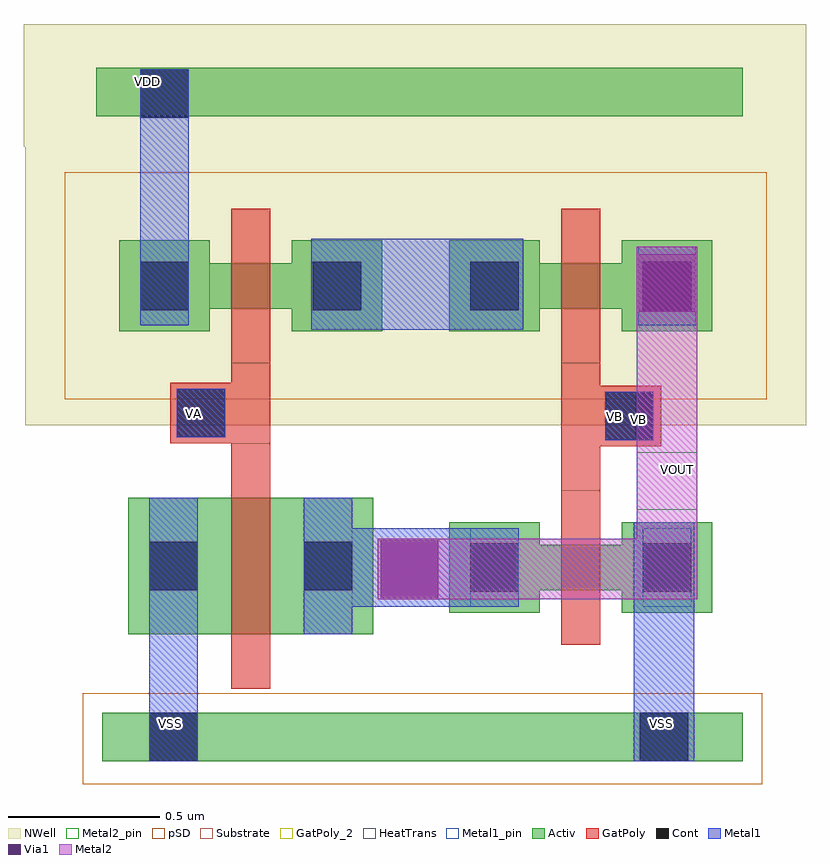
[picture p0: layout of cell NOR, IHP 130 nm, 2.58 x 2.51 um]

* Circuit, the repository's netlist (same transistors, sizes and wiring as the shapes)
* Extracted by KLayout with SG13G2 LVS runset on : 25/01/2026 23:58

.SUBCKT NOR VB
M$1 \$3 VB \$1 \$1 sg13_lv_nmos L=0.13u W=0.15u AS=0.1005p AD=0.1005p PS=1.34u
+ PD=1.34u
M$2 \$1 \$5 \$3 \$1 sg13_lv_nmos L=0.13u W=0.45u AS=0.153p AD=0.153p PS=1.58u
+ PD=1.58u
M$3 \$2 \$5 \$6 \$2 sg13_lv_pmos L=0.13u W=0.15u AS=0.1005p AD=0.1005p PS=1.34u
+ PD=1.34u
M$4 \$6 VB \$3 \$2 sg13_lv_pmos L=0.13u W=0.15u AS=0.1005p AD=0.1005p PS=1.34u
+ PD=1.34u
.ENDS NOR

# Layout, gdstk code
from math import pi, radians
import gdstk
lib = gdstk.Library(unit=1e-6, precision=5e-09)
def R(c, l, rs):  # rectangles x0, y0, x1, y1
    for r in rs: c.add(gdstk.rectangle(r[:2], r[2:], *l))
Activ = (1, 0)
GatPoly = (5, 0)
GatPoly_2 = (5, 2)
Cont = (6, 0)
Metal1 = (8, 0)
Metal1_pin = (8, 2)
Metal2 = (10, 0)
Metal2_pin = (10, 2)
pSD = (14, 0)
Via1 = (19, 0)
NWell = (31, 0)
Substrate = (40, 0)
HeatTrans = (51, 0)

pmos = lib.new_cell('pmos')
R(pmos, Activ, [(0,0,0.3,0.3), (0.57,0,0.87,0.3), (0,0.075,0.87,0.225)])
R(pmos, GatPoly, [(0.37,-0.105,0.5,0.405), (0.37,-0.105,0.5,0.405)])
R(pmos, Cont, [(0.07,0.07,0.23,0.23), (0.64,0.07,0.8,0.23)])
R(pmos, Metal1, [(0.07,0.02,0.23,0.28), (0.07,0.02,0.23,0.28), (0.64,0.02,0.8,0.28), (0.64,0.02,0.8,0.28)])
R(pmos, pSD, [(-0.18,-0.225,1.05,0.525)])
R(pmos, NWell, [(-0.31,-0.31,1.18,0.61)])
R(pmos, Substrate, [(0.57,0,0.87,0.3)])
R(pmos, HeatTrans, [(0.37,-0.105,0.5,0.405)])
pmos.add(gdstk.Label('pmos', (0.435,0.15), layer=63, texttype=0))
pmos.add(gdstk.Label('pmos', (0.435,0.15), layer=51, texttype=0))

nmos = lib.new_cell('nmos')
R(nmos, Activ, [(0,0,0.3,0.3), (0,0,0.81,0.45), (0.51,0,0.81,0.3)])
R(nmos, GatPoly, [(0.34,-0.18,0.47,0.63)])
R(nmos, GatPoly_2, [(0.34,-0.18,0.47,0.63)])
R(nmos, Cont, [(0.07,0.145,0.23,0.305), (0.58,0.145,0.74,0.305)])
R(nmos, Metal1, [(0.07,0,0.23,0.45), (0.58,0,0.74,0.45)])
R(nmos, Metal1_pin, [(0.07,0,0.23,0.45), (0.58,0,0.74,0.45)])
R(nmos, HeatTrans, [(0.34,-0.18,0.47,0.63)])
nmos.add(gdstk.Label('nmos', (0.405,0.225), layer=63, texttype=0))
nmos.add(gdstk.Label('nmos', (0.405,0.225), layer=51, texttype=0))

nmos_3 = lib.new_cell('nmos$3')
R(nmos_3, Activ, [(0,0,0.3,0.3), (0.57,0,0.87,0.3), (0,0.075,0.87,0.225)])
R(nmos_3, GatPoly, [(0.37,-0.105,0.5,0.405)])
R(nmos_3, GatPoly_2, [(0.37,-0.105,0.5,0.405)])
R(nmos_3, Cont, [(0.07,0.07,0.23,0.23), (0.64,0.07,0.8,0.23)])
R(nmos_3, Metal1, [(0.07,0.02,0.23,0.28), (0.64,0.02,0.8,0.28)])
R(nmos_3, Metal1_pin, [(0.07,0.02,0.23,0.28), (0.64,0.02,0.8,0.28)])
R(nmos_3, HeatTrans, [(0.37,-0.105,0.5,0.405)])
nmos_3.add(gdstk.Label('nmos', (0.435,0.15), layer=63, texttype=0))
nmos_3.add(gdstk.Label('nmos', (0.435,0.15), layer=51, texttype=0))

nor = lib.new_cell('NOR')
R(nor, Activ, [(-0.065,-0.175,2.05,-0.015), (-0.085,1.955,2.05,2.115)])
R(nor, GatPoly, [(1.45,0.615,1.58,1.16), (1.58,0.865,1.78,1.065), (0.16,0.875,0.36,1.075), (0.36,0.875,0.49,1.145)])
R(nor, Cont, [(0.09,-0.175,0.25,-0.015), (1.71,-0.175,1.87,-0.015), (1.595,0.885,1.755,1.045), (0.18,0.895,0.34,1.055), (0.06,1.95,0.22,2.11)])
R(nor, Metal1, [(0.09,-0.175,0.25,0.245), (1.69,-0.175,1.89,0.315), (1.69,0.315,1.89,0.615), (0.6,0.335,1.31,0.595), (1.595,0.885,1.755,1.045), (0.18,0.895,0.34,1.055), (0.625,1.25,1.325,1.55), (1.705,1.265,1.895,1.525), (0.06,1.525,0.22,2.11)])
R(nor, Metal1_pin, [(0.09,-0.175,0.25,-0.015), (1.71,-0.175,1.87,-0.015), (1.595,0.885,1.755,1.045), (0.18,0.895,0.34,1.055), (0.06,1.95,0.22,2.11)])
R(nor, Metal2_pin, [(1.7,0.655,1.9,0.845)])
R(nor, pSD, [(-0.13,-0.25,2.115,0.05)])
R(nor, Via1, [(0.855,0.365,1.045,0.555), (1.705,1.31,1.895,1.5)])
R(nor, NWell, [(-0.325,1.855,2.26,2.26)])
nor.add(gdstk.FlexPath([(0.845,0.46),(1.8,0.46),(1.8,1.525)], 0.2, ends="flush", simple_path=True, layer=10, datatype=0))  # Metal2
nor.add(gdstk.Reference(pmos, (1.95,1.245), rotation=pi, x_reflection=True))
nor.add(gdstk.Reference(nmos, (0.83,0.245), rotation=pi, x_reflection=True))
nor.add(gdstk.Reference(nmos_3, (1.95,0.315), rotation=pi, x_reflection=True))
nor.add(gdstk.Reference(pmos, (0.86,1.245), rotation=pi, x_reflection=True))
nor.add(gdstk.Label('VB', (1.625,0.965), layer=8, texttype=2))
nor.add(gdstk.Label('VA', (0.235,0.975), layer=8, texttype=2))
nor.add(gdstk.Label('VSS', (1.78,-0.05), layer=8, texttype=2))
nor.add(gdstk.Label('VDD', (0.085,2.07), layer=8, texttype=2))
nor.add(gdstk.Label('VSS', (0.16,-0.05), layer=8, texttype=2))
nor.add(gdstk.Label('VOUT', (1.835,0.79), layer=10, texttype=2))
nor.add(gdstk.Label('VB', (1.705,0.955), layer=8, texttype=25))

lib.write_gds('NOR.gds')
